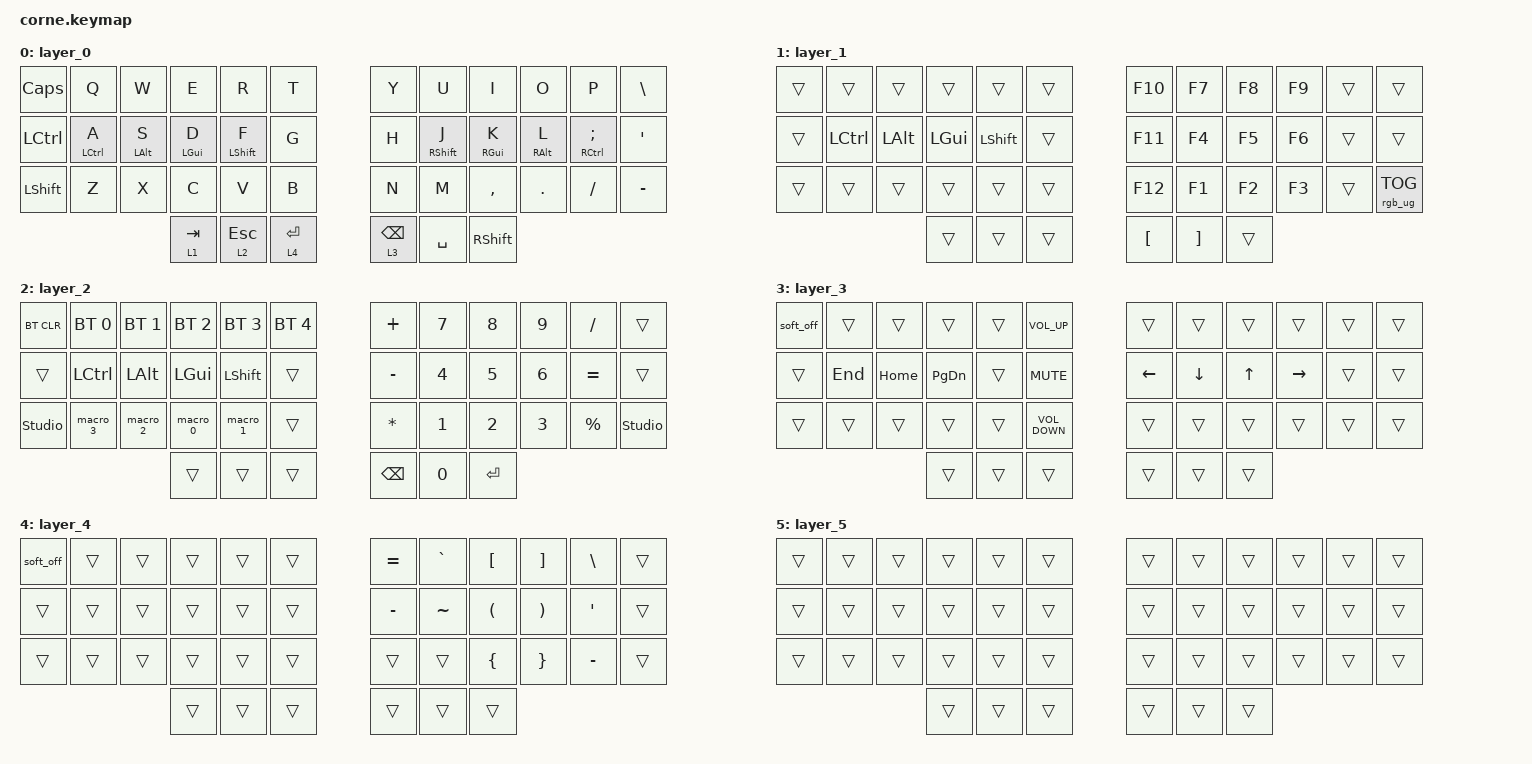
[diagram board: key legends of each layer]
#include <behaviors.dtsi>
#include <dt-bindings/zmk/bt.h>
#include <dt-bindings/zmk/keys.h>
#include <dt-bindings/zmk/rgb.h>

&mt {
    tapping-term-ms = <200>;
    flavor = "balanced";
};

&soft_off {
    hold-time-ms = <3000>; // Only turn off it the key is held for 3  :w seconds or longer.
};

/ {
    macros {
        macro_0: macro_0 {
            compatible = "zmk,behavior-macro";
            #binding-cells = <0>;
            bindings = <&kp LGUI &kp C>;
            label = "MACRO_0";
        };

        macro_1: macro_1 {
            compatible = "zmk,behavior-macro";
            #binding-cells = <0>;
            bindings = <&kp LGUI &kp V>;
            label = "MACRO_1";
        };

        macro_2: macro_2 {
            compatible = "zmk,behavior-macro";
            #binding-cells = <0>;
            bindings = <&kp LGUI &kp X>;
            label = "MACRO_2";
        };

        macro_3: macro_3 {
            compatible = "zmk,behavior-macro";
            #binding-cells = <0>;
            bindings = <&kp LGUI &kp Z>;
            label = "MACRO_3";
        };
    };

    combos {
        compatible = "zmk,combos";

        Enter {
            bindings = <&kp ENTER>;
            key-positions = <31 32>;
        };

        Tab {
            bindings = <&kp TAB>;
            key-positions = <27 28>;
        };

        backspace {
            bindings = <&kp BACKSPACE>;
            key-positions = <7 8>;
        };

        backspace2 {
            bindings = <&kp BACKSPACE>;
            key-positions = <6 7>;
        };
    };

    keymap {
        compatible = "zmk,keymap";

        layer_0 {
            bindings = <
&kp CAPS   &kp Q               &kp W           &kp E           &kp R             &kp T          &kp Y            &kp U              &kp I            &kp O            &kp P                   &kp BSLH
&kp LCTRL  &mt LEFT_CONTROL A  &mt LEFT_ALT S  &mt LEFT_GUI D  &mt LEFT_SHIFT F  &kp G          &kp H            &mt RIGHT_SHIFT J  &mt RIGHT_GUI K  &mt RIGHT_ALT L  &mt RIGHT_CONTROL SEMI  &kp APOS
&kp LSHFT  &kp Z               &kp X           &kp C           &kp V             &kp B          &kp N            &kp M              &kp COMMA        &kp DOT          &kp FSLH                &kp MINUS
                                               &lt 1 TAB       &lt 2 ESC         &lt 4 ENTER    &lt 3 BACKSPACE  &kp SPACE          &kp RSHFT
            >;
        };

        layer_1 {
            bindings = <
&trans  &trans     &trans    &trans    &trans     &trans    &kp F10   &kp F7    &kp F8  &kp F9  &trans  &trans
&trans  &kp LCTRL  &kp LALT  &kp LGUI  &kp LSHFT  &trans    &kp F11   &kp F4    &kp F5  &kp F6  &trans  &trans
&trans  &trans     &trans    &trans    &trans     &trans    &kp F12   &kp F1    &kp F2  &kp F3  &trans  &rgb_ug RGB_TOG
                             &trans    &trans     &trans    &kp LBKT  &kp RBKT  &trans
            >;
        };

        layer_2 {
            bindings = <
&bt BT_CLR      &bt BT_SEL 0  &bt BT_SEL 1  &bt BT_SEL 2  &bt BT_SEL 3  &bt BT_SEL 4    &kp PLUS      &kp N7  &kp N8     &kp N9  &kp FSLH     &trans
&trans          &kp LCTRL     &kp LALT      &kp LGUI      &kp LSHFT     &trans          &kp MINUS     &kp N4  &kp N5     &kp N6  &kp EQUAL    &trans
&studio_unlock  &macro_3      &macro_2      &macro_0      &macro_1      &trans          &kp ASTERISK  &kp N1  &kp N2     &kp N3  &kp PERCENT  &studio_unlock
                                            &trans        &trans        &trans          &kp BSPC      &kp N0  &kp ENTER
            >;
        };

        layer_3 {
            bindings = <
&soft_off  &trans   &trans    &trans         &trans  &kp C_VOLUME_UP      &trans          &trans          &trans        &trans           &trans  &trans
&trans     &kp END  &kp HOME  &kp PAGE_DOWN  &trans  &kp C_MUTE           &kp LEFT_ARROW  &kp DOWN_ARROW  &kp UP_ARROW  &kp RIGHT_ARROW  &trans  &trans
&trans     &trans   &trans    &trans         &trans  &kp C_VOLUME_DOWN    &trans          &trans          &trans        &trans           &trans  &trans
                              &trans         &trans  &trans               &trans          &trans          &trans
            >;
        };

        layer_4 {
            bindings = <
&soft_off  &trans  &trans  &trans  &trans  &trans    &kp EQUAL  &kp GRAVE  &kp LBKT              &kp RBKT               &kp BSLH   &trans
&trans     &trans  &trans  &trans  &trans  &trans    &kp MINUS  &kp TILDE  &kp LEFT_PARENTHESIS  &kp RIGHT_PARENTHESIS  &kp APOS   &trans
&trans     &trans  &trans  &trans  &trans  &trans    &trans     &trans     &kp LEFT_BRACE        &kp RIGHT_BRACE        &kp MINUS  &trans
                           &trans  &trans  &trans    &trans     &trans     &trans
            >;
        };

        layer_5 {
            bindings = <
&trans  &trans  &trans  &trans  &trans  &trans    &trans  &trans  &trans  &trans  &trans  &trans
&trans  &trans  &trans  &trans  &trans  &trans    &trans  &trans  &trans  &trans  &trans  &trans
&trans  &trans  &trans  &trans  &trans  &trans    &trans  &trans  &trans  &trans  &trans  &trans
                        &trans  &trans  &trans    &trans  &trans  &trans
            >;
        };
    };
};
